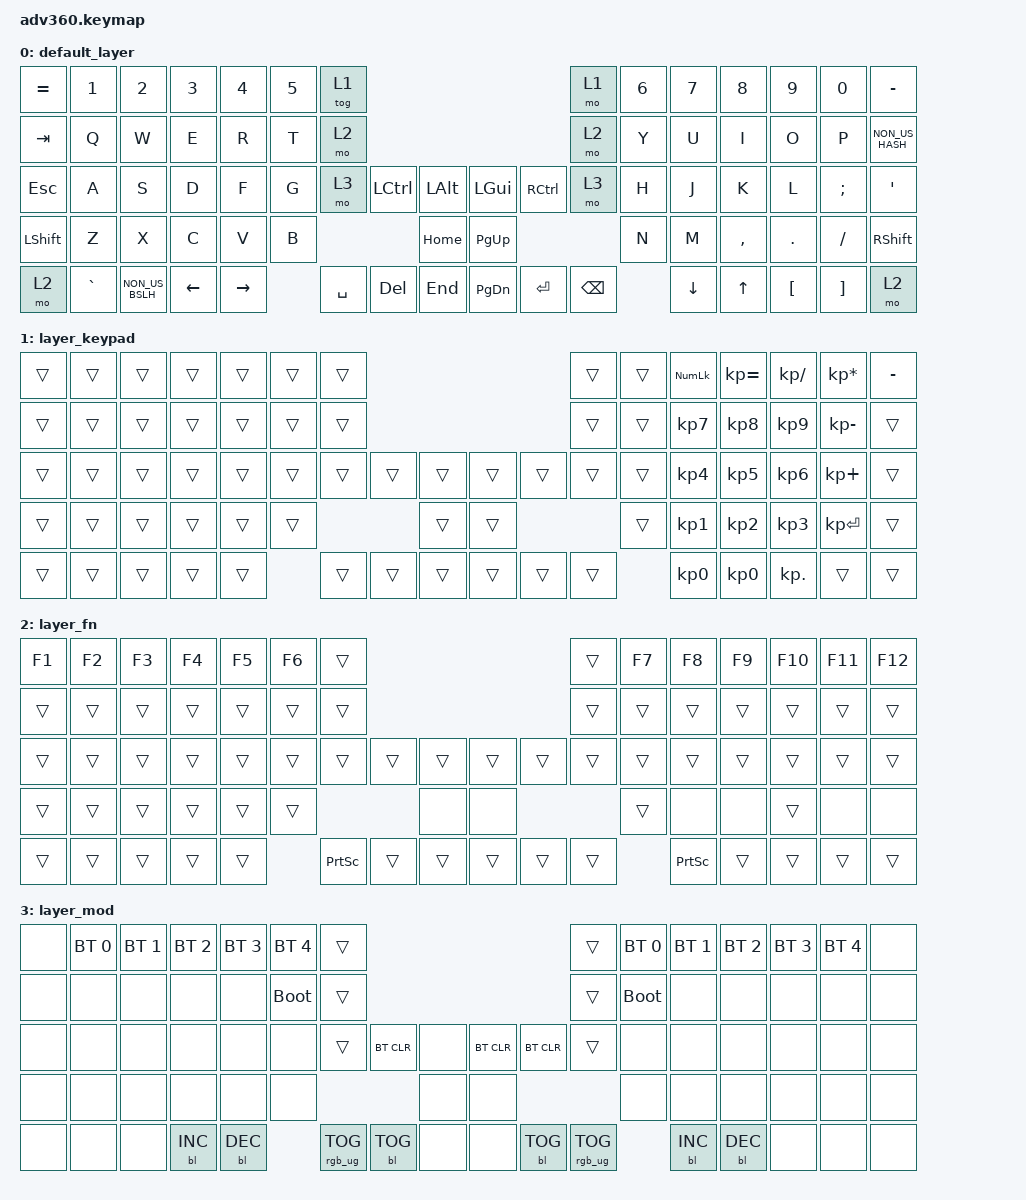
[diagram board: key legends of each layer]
#include <behaviors.dtsi>
#include <dt-bindings/zmk/backlight.h>
#include <dt-bindings/zmk/bt.h>
#include <dt-bindings/zmk/keys.h>
#include <dt-bindings/zmk/rgb.h>

/ {
    behaviors {
        #include "macros.dtsi"
      #include "version.dtsi"
      #ifndef VERSION_MACRO
      #endif

        hm: homerow_mods {
            compatible = "zmk,behavior-hold-tap";
            label = "HOMEROW_MODS";
            #binding-cells = <2>;
            tapping-term-ms = <200>;
            quick_tap_ms = <175>;
            flavor = "tap-preferred";
            bindings = <&kp>, <&kp>;
        };
    };

    keymap {
        compatible = "zmk,keymap";

        default_layer {
            bindings = <
&kp EQUAL  &kp N1     &kp N2           &kp N3    &kp N4     &kp N5  &tog 1                                                    &mo 1     &kp N6  &kp N7    &kp N8     &kp N9    &kp N0    &kp MINUS
&kp TAB    &kp Q      &kp W            &kp E     &kp R      &kp T   &mo 2                                                     &mo 2     &kp Y   &kp U     &kp I      &kp O     &kp P     &kp NON_US_HASH
&kp ESC    &kp A      &kp S            &kp D     &kp F      &kp G   &mo 3      &kp LCTRL  &kp LALT      &kp LGUI   &kp RCTRL  &mo 3     &kp H   &kp J     &kp K      &kp L     &kp SEMI  &kp SQT
&kp LSHFT  &kp Z      &kp X            &kp C     &kp V      &kp B                         &kp HOME      &kp PG_UP                       &kp N   &kp M     &kp COMMA  &kp DOT   &kp FSLH  &kp RSHFT
&mo 2      &kp GRAVE  &kp NON_US_BSLH  &kp LEFT  &kp RIGHT          &kp SPACE  &kp DEL    &kp END       &kp PG_DN  &kp RET    &kp BSPC          &kp DOWN  &kp UP     &kp LBKT  &kp RBKT  &mo 2
            >;
        };

        layer_keypad {
            bindings = <
&trans  &trans  &trans  &trans  &trans  &trans  &trans                                      &trans  &trans  &kp KP_NUM  &kp KP_EQUAL  &kp KP_DIVIDE  &kp KP_MULTIPLY  &kp MINUS
&trans  &trans  &trans  &trans  &trans  &trans  &trans                                      &trans  &trans  &kp KP_N7   &kp KP_N8     &kp KP_N9      &kp KP_MINUS     &trans
&trans  &trans  &trans  &trans  &trans  &trans  &trans  &trans  &trans      &trans  &trans  &trans  &trans  &kp KP_N4   &kp KP_N5     &kp KP_N6      &kp KP_PLUS      &trans
&trans  &trans  &trans  &trans  &trans  &trans                  &trans      &trans                  &trans  &kp KP_N1   &kp KP_N2     &kp KP_N3      &kp KP_ENTER     &trans
&trans  &trans  &trans  &trans  &trans          &trans  &trans  &trans      &trans  &trans  &trans          &kp KP_N0   &kp KP_N0     &kp KP_DOT     &trans           &trans
            >;
        };

        layer_fn {
            bindings = <
&kp F1  &kp F2  &kp F3  &kp F4  &kp F5  &kp F6  &trans                                               &trans  &kp F7  &kp F8           &kp F9  &kp F10  &kp F11  &kp F12
&trans  &trans  &trans  &trans  &trans  &trans  &trans                                               &trans  &trans  &trans           &trans  &trans   &trans   &trans
&trans  &trans  &trans  &trans  &trans  &trans  &trans           &trans  &trans      &trans  &trans  &trans  &trans  &trans           &trans  &trans   &trans   &trans
&trans  &trans  &trans  &trans  &trans  &trans                           &none       &none                   &trans  &none            &none   &trans   &none    &none
&trans  &trans  &trans  &trans  &trans          &kp PRINTSCREEN  &trans  &trans      &trans  &trans  &trans          &kp PRINTSCREEN  &trans  &trans   &trans   &trans
            >;
        };

        layer_mod {
            bindings = <
&none  &bt BT_SEL 0  &bt BT_SEL 1  &bt BT_SEL 2  &bt BT_SEL 3  &bt BT_SEL 4  &trans                                                          &trans           &bt BT_SEL 0  &bt BT_SEL 1  &bt BT_SEL 2  &bt BT_SEL 3  &bt BT_SEL 4  &none
&none  &none         &none         &none         &none         &bootloader   &trans                                                          &trans           &bootloader   &none         &none         &none         &none         &none
&none  &none         &none         &none         &none         &none         &trans           &bt BT_CLR  &none      &bt BT_CLR  &bt BT_CLR  &trans           &none         &none         &none         &none         &none         &none
&none  &none         &none         &none         &none         &none                                      &none      &none                                    &none         &none         &none         &none         &none         &none
&none  &none         &none         &bl BL_INC    &bl BL_DEC                  &rgb_ug RGB_TOG  &bl BL_TOG  &none      &none       &bl BL_TOG  &rgb_ug RGB_TOG                &bl BL_INC    &bl BL_DEC    &none         &none         &none
            >;
        };
    };
};
